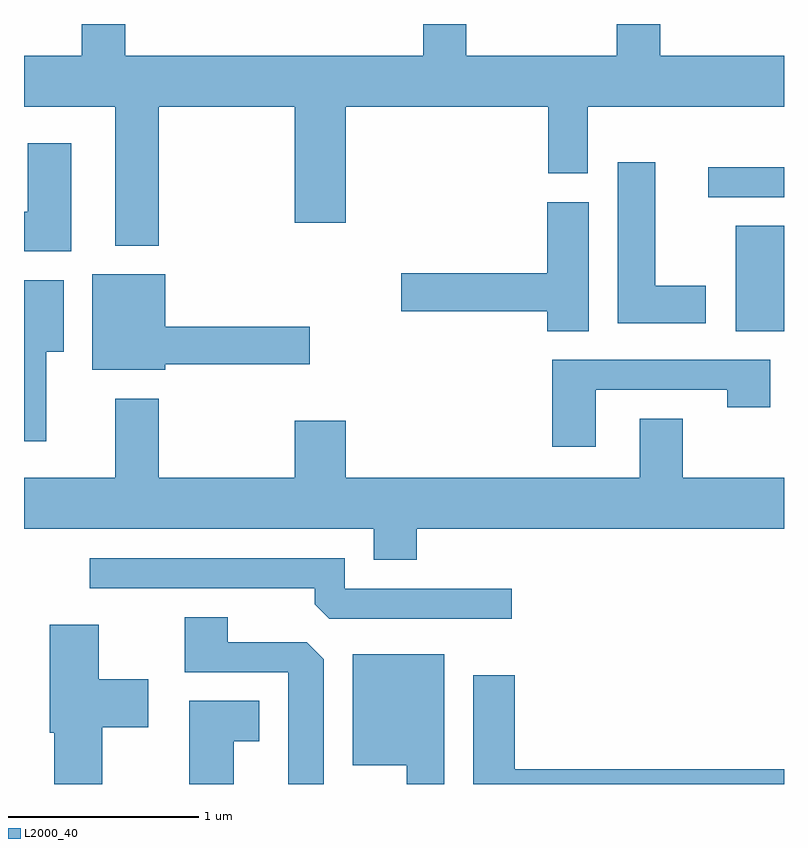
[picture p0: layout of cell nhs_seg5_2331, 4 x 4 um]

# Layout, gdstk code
import gdstk
lib = gdstk.Library(unit=1e-6, precision=1e-09)
def R(c, l, rs):  # rectangles x0, y0, x1, y1
    for r in rs: c.add(gdstk.rectangle(r[:2], r[2:], *l))
def P(c, l, *ps):  # polygons
    for p in ps: c.add(gdstk.Polygon(p, *l))
L2000_40 = (2000, 40)

nhs_seg5_2331 = lib.new_cell('nhs_seg5_2331')
R(nhs_seg5_2331, L2000_40, [(257.356,1504.456,257.611,1505.009), (257.212,1505.161,257.611,1505.319)])
P(nhs_seg5_2331, L2000_40, [(254.319,1505.636),(255.036,1505.636),(255.036,1505.026),(255.304,1505.026),(255.304,1505.636),(256.371,1505.636),(256.371,1505.286),(256.579,1505.286),(256.579,1505.636),(257.611,1505.636),(257.611,1505.904),(256.959,1505.904),(256.959,1506.072),(256.731,1506.072),(256.731,1505.904),(255.939,1505.904),(255.939,1506.072),(255.711,1506.072),(255.711,1505.904),(254.144,1505.904),(254.144,1506.072),(253.916,1506.072),(253.916,1505.904),(253.611,1505.904),(253.611,1505.636),(254.091,1505.636),(254.091,1504.906),(254.319,1504.906)],
  [(253.859,1505.444),(253.631,1505.444),(253.631,1505.084),(253.611,1505.084),(253.611,1504.876),(253.859,1504.876)],
  [(257.199,1504.694),(256.934,1504.694),(256.934,1505.344),(256.736,1505.344),(256.736,1504.496),(257.199,1504.496)],
  [(256.584,1505.134),(256.366,1505.134),(256.366,1504.759),(255.596,1504.759),(255.596,1504.561),(256.366,1504.561),(256.366,1504.456),(256.584,1504.456)],
  [(254.354,1504.281),(255.114,1504.281),(255.114,1504.479),(254.354,1504.479),(254.354,1504.754),(253.971,1504.754),(253.971,1504.251),(254.354,1504.251)],
  [(253.729,1504.346),(253.819,1504.346),(253.819,1504.724),(253.611,1504.724),(253.611,1503.876),(253.729,1503.876)],
  [(256.619,1504.146),(257.311,1504.146),(257.311,1504.056),(257.539,1504.056),(257.539,1504.304),(256.391,1504.304),(256.391,1503.846),(256.619,1503.846)],
  [(255.679,1503.416),(257.611,1503.416),(257.611,1503.684),(257.079,1503.684),(257.079,1503.994),(256.851,1503.994),(256.851,1503.684),(255.304,1503.684),(255.304,1503.984),(255.036,1503.984),(255.036,1503.684),(254.319,1503.684),(254.319,1504.099),(254.091,1504.099),(254.091,1503.684),(253.611,1503.684),(253.611,1503.416),(255.451,1503.416),(255.451,1503.251),(255.679,1503.251)],
  [(256.178,1503.099),(255.299,1503.099),(255.299,1503.259),(253.958,1503.259),(253.958,1503.101),(255.141,1503.101),(255.141,1503.017),(255.217,1502.941),(256.178,1502.941)],
  [(255.189,1502.729),(255.099,1502.819),(254.684,1502.819),(254.684,1502.949),(254.456,1502.949),(254.456,1502.661),(255.001,1502.661),(255.001,1502.072),(255.189,1502.072)],
  [(254.024,1502.371),(254.264,1502.371),(254.264,1502.624),(254.004,1502.624),(254.004,1502.909),(253.746,1502.909),(253.746,1502.341),(253.771,1502.341),(253.771,1502.072),(254.024,1502.072)],
  [(255.824,1502.754),(255.341,1502.754),(255.341,1502.171),(255.626,1502.171),(255.626,1502.072),(255.824,1502.072)],
  [(257.611,1502.149),(256.194,1502.149),(256.194,1502.644),(255.976,1502.644),(255.976,1502.072),(257.611,1502.072)],
  [(254.714,1502.296),(254.849,1502.296),(254.849,1502.509),(254.481,1502.509),(254.481,1502.072),(254.714,1502.072)])

lib.write_gds('nhs_seg5_2331.gds')
